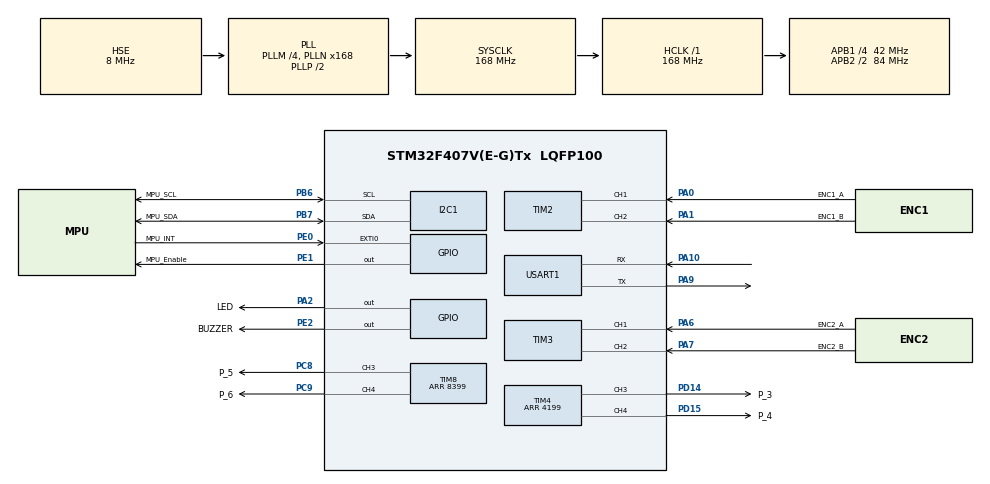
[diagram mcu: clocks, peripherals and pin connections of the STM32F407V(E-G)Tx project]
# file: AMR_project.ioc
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Dma.Request0=USART1_RX
Dma.USART1_RX.0.Direction=DMA_PERIPH_TO_MEMORY
Dma.USART1_RX.0.FIFOMode=DMA_FIFOMODE_DISABLE
Dma.USART1_RX.0.Instance=DMA2_Stream2
Dma.USART1_RX.0.MemDataAlignment=DMA_MDATAALIGN_BYTE
Dma.USART1_RX.0.MemInc=DMA_MINC_ENABLE
Dma.USART1_RX.0.Mode=DMA_NORMAL
Dma.USART1_RX.0.PeriphDataAlignment=DMA_PDATAALIGN_BYTE
Dma.USART1_RX.0.PeriphInc=DMA_PINC_DISABLE
Dma.USART1_RX.0.Priority=DMA_PRIORITY_LOW
I2C1.I2C_Mode=I2C_Fast
Mcu.Family=STM32F4
Mcu.Name=STM32F407V(E-G)Tx
Mcu.Package=LQFP100
NVIC.DMA2_Stream2_IRQn=true\:0\:0\:false\:false\:true\:false\:true\:true
NVIC.EXTI0_IRQn=true\:0\:0\:false\:false\:true\:true\:true\:true
NVIC.PriorityGroup=NVIC_PRIORITYGROUP_4
NVIC.TIM2_IRQn=true\:0\:0\:false\:false\:true\:true\:true\:true
NVIC.TIM3_IRQn=true\:0\:0\:false\:false\:true\:true\:true\:true
NVIC.TIM5_IRQn=true\:0\:0\:false\:false\:true\:true\:true\:true
NVIC.USART1_IRQn=true\:0\:0\:false\:false\:true\:true\:true\:true
PA0-WKUP.GPIO_Label=ENC1_A
PA0-WKUP.Signal=S_TIM2_CH1_ETR
PA1.GPIO_Label=ENC1_B
PA1.Signal=S_TIM2_CH2
PA10.Mode=Asynchronous
PA10.Signal=USART1_RX
PA2.GPIO_Label=LED
PA2.Signal=GPIO_Output
PA6.GPIO_Label=ENC2_A
PA6.Signal=S_TIM3_CH1
PA7.GPIO_Label=ENC2_B
PA7.Signal=S_TIM3_CH2
PA9.Mode=Asynchronous
PA9.Signal=USART1_TX
PB6.GPIO_Label=MPU_SCL
PB6.Mode=I2C
PB6.Signal=I2C1_SCL
PB7.GPIO_Label=MPU_SDA
PB7.Mode=I2C
PB7.Signal=I2C1_SDA
PC8.GPIO_Label=P_5
PC8.Signal=S_TIM8_CH3
PC9.GPIO_Label=P_6
PC9.Signal=S_TIM8_CH4
PD14.GPIO_Label=P_3
PD14.Signal=S_TIM4_CH3
PD15.GPIO_Label=P_4
PD15.Signal=S_TIM4_CH4
PE0.GPIO_Label=MPU_INT
PE0.Signal=GPXTI0
PE1.GPIO_Label=MPU_Enable
PE1.Signal=GPIO_Output
PE2.GPIO_Label=BUZZER
PE2.Signal=GPIO_Output
PH0-OSC_IN.Mode=HSE-External-Oscillator
PH0-OSC_IN.Signal=RCC_OSC_IN
PH1-OSC_OUT.Mode=HSE-External-Oscillator
PH1-OSC_OUT.Signal=RCC_OSC_OUT
ProjectManager.HeapSize=0x200
ProjectManager.StackSize=0x400
ProjectManager.TargetToolchain=MDK-ARM V5.32
RCC.48MHZClocksFreq_Value=84000000
RCC.AHBFreq_Value=168000000
RCC.APB1CLKDivider=RCC_HCLK_DIV4
RCC.APB1Freq_Value=42000000
RCC.APB1TimFreq_Value=84000000
RCC.APB2CLKDivider=RCC_HCLK_DIV2
RCC.APB2Freq_Value=84000000
RCC.APB2TimFreq_Value=168000000
RCC.CortexFreq_Value=168000000
RCC.HCLKFreq_Value=168000000
RCC.HSE_VALUE=8000000
RCC.HSI_VALUE=16000000
RCC.LSE_VALUE=32768
RCC.PLLM=4
RCC.PLLN=168
RCC.PLLSourceVirtual=RCC_PLLSOURCE_HSE
RCC.SYSCLKFreq_VALUE=168000000
RCC.SYSCLKSource=RCC_SYSCLKSOURCE_PLLCLK
RCC.VCOOutputFreq_Value=336000000
SH.S_TIM2_CH1_ETR.0=TIM2_CH1,Encoder_Interface
SH.S_TIM2_CH2.0=TIM2_CH2,Encoder_Interface
SH.S_TIM3_CH1.0=TIM3_CH1,Encoder_Interface
SH.S_TIM3_CH2.0=TIM3_CH2,Encoder_Interface
SH.S_TIM4_CH3.0=TIM4_CH3,PWM Generation3 CH3
SH.S_TIM4_CH4.0=TIM4_CH4,PWM Generation4 CH4
SH.S_TIM8_CH3.0=TIM8_CH3,PWM Generation3 CH3
SH.S_TIM8_CH4.0=TIM8_CH4,PWM Generation4 CH4
TIM2.EncoderMode=TIM_ENCODERMODE_TI12
TIM3.EncoderMode=TIM_ENCODERMODE_TI12
TIM4.Channel-PWM\ Generation3\ CH3=TIM_CHANNEL_3
TIM4.Channel-PWM\ Generation4\ CH4=TIM_CHANNEL_4
TIM4.Period=4199
TIM5.Period=99
TIM5.Prescaler=8399
TIM8.Channel-PWM\ Generation3\ CH3=TIM_CHANNEL_3
TIM8.Channel-PWM\ Generation4\ CH4=TIM_CHANNEL_4
TIM8.Period=8399
USART1.VirtualMode=VM_ASYNC
VP_TIM5_VS_ClockSourceINT.Mode=Internal
board=custom

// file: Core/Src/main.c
/* USER CODE BEGIN Header */
/**
  ******************************************************************************
  * @file           : main.c
  * @brief          : Main program body
  ******************************************************************************
  * @attention
  *
  * Copyright (c) 2026 STMicroelectronics.
  * All rights reserved.
  *
  * This software is licensed under terms that can be found in the LICENSE file
  * in the root directory of this software component.
  * If no LICENSE file comes with this software, it is provided AS-IS.
  *
  ******************************************************************************
  */
/* USER CODE END Header */
#include "main.h"

/* USER CODE BEGIN Includes */
#include "MPU6050/mpu6050.h"
#include <stdio.h>
#include "encoder.h"
#include <math.h>
#include "string.h"
/* USER CODE END Includes */

/* USER CODE BEGIN PD */
#define ARR_MAX_L     4199
#define PID_LIMIT_L ARR_MAX_L

#define ARR_MAX_R     2099
#define PID_LIMIT_R ARR_MAX_R

#define Ts 0.01f
#define RAD_S_L 28.6f
#define RAD_S_R 29.0f
#define ARR_MIN 10
#define Base_Link 0.31548f
/* USER CODE END PD */

/* USER CODE BEGIN PM */
typedef struct {
    float Kp;
    float Ki;
    float Kd;
    float alpha_d;
} PID_Config_t;

// Khai báo cố định 3 bộ số PID cho toàn bộ hành trình
const PID_Config_t PID_Straight = { .Kp = 0.5f, .Ki = 4.0f, .Kd = 0.013f, .alpha_d = 0.2f };
const PID_Config_t PID_Turn     = { .Kp = 2.5f, .Ki = 0.0f, .Kd = 0.080f, .alpha_d = 0.2f };
const PID_Config_t PID_PostTurn = { .Kp = 0.5f, .Ki = 5.0f, .Kd = 0.028f, .alpha_d = 0.25f };
/* USER CODE END PM */

I2C_HandleTypeDef hi2c1;

TIM_HandleTypeDef htim2;
TIM_HandleTypeDef htim3;
TIM_HandleTypeDef htim4;
TIM_HandleTypeDef htim5;
TIM_HandleTypeDef htim8;

UART_HandleTypeDef huart1;
DMA_HandleTypeDef hdma_usart1_rx;

/* USER CODE BEGIN PV */
uint8_t buzzer_done_flag;
char uart_buf[64];
float linear_x = 0.0f;
/*=========================== ACCEL PARAM ====================================*/
extern float Real_Accel_X;
extern float Real_Accel_Y;
extern float Real_Accel_Z;
extern float acc_calibrated_x;
extern float acc_calibrated_y;
extern float acc_calibrated_z;

/*=========================== GYRO PARAM ====================================*/
extern volatile float Final_Accel_X;
extern volatile float Final_Accel_Y;
extern volatile float Final_Gyro_Z;

extern float gy_calibrated_x;
extern float gy_calibrated_y;
extern float gy_calibrated_z;
extern float Odom_Gyro_X;

/*=========================== ANGLE PARAM ====================================*/
extern signed char Is_Calibrated;

volatile signed char mpu_data_ready_flag = 0;
extern float Robot_Yaw;

/*=========================== ENCODER PARAM ====================================*/
Encoder_t LeftEncoder;
Encoder_t RightEncoder;

volatile uint32_t prev_tick = 0;
const uint32_t sample_period_ms = 10;

int32_t pulse_left;
float left_angle;
float left_rad_raw;
float left_vel_raw;
float left_rad_filt;
float left_vel_filt;
float alpha_vel_left = 0.3f;

volatile uint16_t pulse_right;
float right_angle;
float right_rad_raw;
float right_vel_raw;
float right_rad_filt;
float right_vel_filt;
float alpha_vel_right = 0.2f;

uint32_t step_tick = 0;
uint16_t current_pwm = 0;

//------------------- PI_VEL PARAMETER ----------------------//
volatile uint8_t pid_trigger = 0; // flat PID

// Left side
float Kp_L = 50.0;
float Ki_L = 1000.0;
float Kb_L = 0.0;
float error_sat_p_L = 0;
float error_sat_L = 0;
float ui_p_L = 0;
float error_integral_L = 0;
volatile int16_t motor_L_output = 0;
volatile float setpoint_L = 0.0f;// setpoint -> rad/s

// Right side
float Kp_R = 120.0;
float Ki_R = 900.0;
float Kb_R = 0.0;
float error_sat_p_R = 0;
float error_sat_R = 0;
float ui_p_R = 0;
float error_integral_R = 0;
volatile int16_t motor_R_output = 0;
volatile float setpoint_R = 0.0f;

//------------------- UART PARAMETER ----------------------//
float uart_vel = 0.0f;
float uart_rad = 0.0f;
float ros_uart_accel_x = 0.0f;
float ros_uart_accel_y = 0.0f;
float ros_uart_gyro_z = 0.0f;

const float WHEEL_RADIUS = 0.05f;
const float DEG_TO_RAD   = 0.0174532925f;
float Robot_X = 0.0f;
float Robot_Y = 0.0f;
//------------------- PID_POS PARAMETER ----------------------//
float Kp_pos = 0.01f;
float Ki_pos = 0.0f;
float Kd_pos = 0.0f;
float Kb_pos = 0.0f;

float alpha_pos = 0.2f;
const float PID_LIMIT_POS = 15.0f;
float ui_p_pos = 0.0f;          // ui_past: Kh�u I c?a chu k? tru?c
float error_sat_p_pos = 0.0f;   // error_saturation_past: Sai s? b�o h�a chu k? tru?c
float error_pos_p = 0.0f;       // error_past: Sai s? v? tr� chu k? tru?c
float last_ud_f_pos = 0.0f;

//------------------- PID_ANGLE PARAMETER ----------------------//

float Kp_angle = 0.1f;
float Ki_angle = 0.0f;
float Kd_angle = 0.0f;
float Kb_angle = 0.0f;
float alpha_d_angle = 0.15f;

float angle_error = 0.0f;
float angle_last_error = 0.0f;
float angle_integral = 0.0f;
const float PID_LIMIT_ANGLE = 20.0f;
const float ANGLE_I_LIMIT   = 5.0f;
float error_sat_p_angle = 0.0f;
float Setpoint_Yaw = 0.0f;
float last_ud_f_angle = 0.0f;

uint32_t run_time_counter = 0;
float target_linear_speed = 0.0f;
float Target_Yaw = 0.0f;

/*============ Calibration YAW ====================*/
float calib_wheel_yaw_rad = 0.0f;
float calib_wheel_yaw_deg = 0.0f;
uint8_t calib_step_state = 0;
float recommended_gyro_scale = 0.0f;
float recommended_base_link = 0.0f;

uint8_t txFrame[14];

uint8_t rxFrame[10];

signed char flag = 0;
/* USER CODE END PV */

void SystemClock_Config(void);
static void MX_GPIO_Init(void);
static void MX_DMA_Init(void);
static void MX_USART1_UART_Init(void);
static void MX_I2C1_Init(void);
static void MX_TIM2_Init(void);
static void MX_TIM3_Init(void);
static void MX_TIM4_Init(void);
static void MX_TIM8_Init(void);
static void MX_TIM5_Init(void);
/* USER CODE BEGIN PFP */
void Read_DMP(void);
/* USER CODE END PFP */

/* USER CODE BEGIN 0 */

/*=========================== INTERUPT ===========================*/
void HAL_GPIO_EXTI_Callback(uint16_t GPIO_Pin)
{
	if (GPIO_Pin == MPU_INT_Pin)
	{
	 mpu_data_ready_flag = 1;
	}
}

void HAL_UARTEx_RxEventCallback(UART_HandleTypeDef *huart, uint16_t Size){
	 if(huart->Instance == USART1){
		 HAL_UARTEx_ReceiveToIdle_DMA(&huart1, rxFrame, 10);
		 __HAL_DMA_DISABLE_IT(&hdma_usart1_rx, DMA_IT_HT);
		flag = 1;
		if(rxFrame[0] == 0xAA && rxFrame[9] == 0x0D)
		{
			uint8_t *p;

			p = (uint8_t *)&linear_x;
			p[0] = rxFrame[1];
			p[1] = rxFrame[2];
			p[2] = rxFrame[3];
			p[3] = rxFrame[4];

			p = (uint8_t *)&Target_Yaw;
			p[0] = rxFrame[5];
			p[1] = rxFrame[6];
			p[2] = rxFrame[7];
			p[3] = rxFrame[8];
		}
	}
}

/*------------Interupt Compute ---------------------*/
void HAL_TIM_PeriodElapsedCallback(TIM_HandleTypeDef *htim)
{
	if (htim->Instance == TIM5)
	{
		pid_trigger = 1;
//		run_time_counter ++;
	}
}

// --------------- ENCODER ---------------------//
void encoder_process(void){
	Encoder_Update(&LeftEncoder);
	Encoder_Update(&RightEncoder);

	left_rad_raw  = LeftEncoder.speed_rad_s;
	left_vel_raw  = LeftEncoder.velocity_m_s;
	left_rad_filt = (alpha_vel_left * left_rad_raw) + ((1.0f - alpha_vel_left) * left_rad_filt);
	left_vel_filt = (alpha_vel_left * left_vel_raw) + ((1.0f - alpha_vel_left) * left_vel_filt);

	right_rad_raw   = RightEncoder.speed_rad_s;
	right_vel_raw   = RightEncoder.velocity_m_s;
	right_rad_filt = (alpha_vel_right  * right_rad_raw) + ((1.0f - alpha_vel_right) * right_rad_filt);
	right_vel_filt = (alpha_vel_right  * right_vel_raw) + ((1.0f - alpha_vel_right) * right_vel_filt);
}

/*============== PI_VEL_CONTROLLER ===================*/
void PI_vel(float rad_L, float rad_R) {
	float error_L = (float)setpoint_L - rad_L;
	float up_L = Kp_L * error_L;
	float ui_L = ui_p_L + Ts * (Ki_L * error_L + Kb_L * error_sat_p_L);
	float out_L_raw = up_L + ui_L;

	if (out_L_raw > PID_LIMIT_L) {
		motor_L_output = PID_LIMIT_L;
		error_sat_L = PID_LIMIT_L - out_L_raw;
	}
	else if (out_L_raw < -PID_LIMIT_L) {
		motor_L_output = -PID_LIMIT_L;
		error_sat_L = -PID_LIMIT_L - out_L_raw;
	}
	else{
		motor_L_output = (int16_t)out_L_raw;
		error_sat_L = 0.0f;
	}

	ui_p_L = ui_L;
	error_sat_p_L = error_sat_L;

	float error_R = (float)setpoint_R - rad_R;
	float up_R = Kp_R * error_R;
	float ui_R = ui_p_R + Ts * (Ki_R * error_R + Kb_R * error_sat_p_R);
	float out_R_raw = up_R + ui_R;

	if (out_R_raw > PID_LIMIT_R) {
			motor_R_output = PID_LIMIT_R;
			error_sat_R = PID_LIMIT_R - out_R_raw;
	}
	else if (out_R_raw < -PID_LIMIT_R) {
			motor_R_output = -PID_LIMIT_R;
			error_sat_R = -PID_LIMIT_R - out_R_raw;
	}
	else{
			motor_R_output = (int16_t)out_R_raw;
			error_sat_R =  0.0f;
	}
	ui_p_R = ui_R;
	error_sat_p_R = error_sat_R;
}

/*============== PID_POS_CONTROLLER ===================*/
//float PID_pos(float setpoint_pos, float feedback_pos, float dt)
//{
//	float error_pos = setpoint_pos - feedback_pos;
//
//    float up_pos = Kp_pos * error_pos;
//
//    float ui_pos = ui_p_pos + dt * (Ki_pos * error_pos + Kb_pos * error_sat_p_pos);
//
//    float ud_pos = Kd_pos * (error_pos - error_pos_p) / dt;
//
//    float ud_f = (1.0f - alpha_pos) * last_ud_f_pos + alpha_pos * ud_pos;
//
//    float out_pos_raw = up_pos + ui_pos + ud_f;
//    float pos_output = 0.0f;
//    float error_sat_pos = 0.0f;
//
//    if (out_pos_raw > PID_LIMIT_POS) {
//        pos_output = PID_LIMIT_POS;
//        error_sat_pos = PID_LIMIT_POS - out_pos_raw;
//    }
//    else if (out_pos_raw < -PID_LIMIT_POS) {
//        pos_output = -PID_LIMIT_POS;
//        error_sat_pos = -PID_LIMIT_POS - out_pos_raw;
//    }
//    else {
//        pos_output = out_pos_raw;
//        error_sat_pos = 0.0f;
//    }
//
//    ui_p_pos = ui_pos;
//    error_sat_p_pos = error_sat_pos;
//    error_pos_p = error_pos;
//    last_ud_f_pos = ud_f;
//
//    return pos_output;
//}

/*============== PID_ANGLE_CONTROLLER ===================*/
float PID_angle(float setpoint, float feedback, float dt)
{
	angle_error = setpoint - feedback;

	while (angle_error > 180.0f)
			angle_error -= 360.0f;
	while (angle_error < -180.0f)
			angle_error += 360.0f;

	float up_angle = Kp_angle * angle_error;

	float ui_angle = angle_integral + dt * (Ki_angle * angle_error + Kb_angle * error_sat_p_angle);

	float ud_angle_raw = Kd_angle * (angle_error - angle_last_error) / dt;

	float ud_angle_filtered = (alpha_d_angle * ud_angle_raw) + ((1.0f - alpha_d_angle) * last_ud_f_angle);
	last_ud_f_angle = ud_angle_filtered;

	float out_angle_raw = up_angle + ui_angle + ud_angle_filtered;
	float angle_output = 0.0f;
	float error_sat_angle = 0.0f;

	if (out_angle_raw > PID_LIMIT_ANGLE) {
			angle_output = PID_LIMIT_ANGLE;
			error_sat_angle = PID_LIMIT_ANGLE - out_angle_raw;
	}
	else if (out_angle_raw < -PID_LIMIT_ANGLE) {
			angle_output = -PID_LIMIT_ANGLE;
			error_sat_angle = -PID_LIMIT_ANGLE - out_angle_raw;
	}
	else {
			angle_output = out_angle_raw;
			error_sat_angle = 0.0f;
	}

	angle_integral = ui_angle;
	error_sat_p_angle = error_sat_angle;
	angle_last_error = angle_error;

	return angle_output;
}

/*============== RAW ODOM UART ===================*/
void uart_transmit_data(float w_left, float w_right, float yaw_deg, float dt)
{
	// Wheel data
	uart_vel = (left_vel_filt + right_vel_filt)/2; // Linear_vel
	uart_rad = (right_rad_filt - left_rad_filt)/Base_Link; // Angular_vel

	// IMU data
	ros_uart_accel_x = Final_Accel_X * 9.80665f;
	ros_uart_accel_y = Final_Accel_Y * 9.80665f;
	ros_uart_gyro_z  = Final_Gyro_Z  * 0.0174532925f;

}

/*============== MOTOR CONTROL  ===================*/
void Set_Motor(int16_t left_output, int16_t right_output)
{
	if (left_output >= 0)
	{
		if (left_output > ARR_MAX_L)
			left_output = ARR_MAX_L;

		TIM8->CCR3 = ARR_MIN;
		TIM8->CCR4 = left_output;
	}
	else
	{
		left_output = -left_output;
		if (left_output > ARR_MAX_L)
			left_output = ARR_MAX_L;

		TIM8->CCR3 = left_output;
		TIM8->CCR4 = ARR_MIN;
	}

	if (right_output >= 0)
	{
		if (right_output > ARR_MAX_R)
			right_output = ARR_MAX_R;

		TIM4->CCR3 = right_output;
		TIM4->CCR4 = ARR_MIN;
	}
	else
	{
		right_output = -right_output;
		if (right_output > ARR_MAX_R)
			right_output = ARR_MAX_R;

		TIM4->CCR3 = ARR_MIN;
		TIM4->CCR4 = right_output;
	}
}

/*====================== AUTO CALIB ============================*/
void Auto_Calib_Turn_Place(void)
{
	if (calib_step_state == 0)
	{
			setpoint_L = -2.0f;
			setpoint_R = 2.0f;

			calib_wheel_yaw_rad = 0.0f;
			calib_step_state = 1;
	}

	else if (calib_step_state == 1)
	{
		float current_w_wheel = (right_vel_filt - left_vel_filt) / Base_Link;

		calib_wheel_yaw_rad += current_w_wheel * Ts;
		calib_wheel_yaw_deg = calib_wheel_yaw_rad * 57.29577951f;

		if (fabs(Robot_Yaw) >= 1800.0f)
		{
			setpoint_L = 0.0f;
			setpoint_R = 0.0f;
			motor_L_output = 0;
			motor_R_output = 0;
			Set_Motor(0, 0);

			calib_step_state = 2;
		}
	}

	else if (calib_step_state == 2)
	{
		GPIOE->ODR |= (1<<2);
		HAL_Delay(200);
		GPIOE->ODR &=~ (1<<2);

		recommended_base_link = Base_Link * (calib_wheel_yaw_deg / 1800.0f);

		calib_step_state = 3;
	}
}

//void AMR_UART_Transmit_To_Pi(void)
//{
//    float linear_velocity = (left_vel_filt + right_vel_filt) / 2.0f;

//    float yaw_rad = Robot_Yaw * DEG_TO_RAD;
//
//    Robot_X += linear_velocity * cosf(yaw_rad) * Ts;
//    Robot_Y += linear_velocity * sinf(yaw_rad) * Ts;

//    uart_rad = (right_rad_filt - left_rad_filt) / Base_Link;

//    ros_uart_accel_x = Final_Accel_X * 9.80665f;
//    ros_uart_accel_y = Final_Accel_Y * 9.80665f;
//    ros_uart_gyro_z  = Final_Gyro_Z  * DEG_TO_RAD;

//    int len = sprintf(uart_buf, "%.3f,%.3f,%.2f\r\n",
//                      Robot_X, Robot_Y, Robot_Yaw);

//    HAL_UART_Transmit(&huart6, (uint8_t*)uart_buf, len, 10);
//}

/*===================== CACULATE SETPOINT ========================*/
void Inverse_Kinematics(void)
{
    float v_left  = linear_x - Robot_Yaw * Base_Link * 0.5f;
    float v_right = linear_x + Robot_Yaw * Base_Link * 0.5f;

    setpoint_L = v_left  / WHEEL_RADIUS;
    setpoint_R = v_right / WHEEL_RADIUS;
}

int pulse_left = 0;

/*===================== */
/* USER CODE END 0 */

int main(void)
{

  /* MCU Configuration--------------------------------------------------------*/

  /* Reset of all peripherals, Initializes the Flash interface and the Systick. */
  HAL_Init();

  /* Configure the system clock */
  SystemClock_Config();

  /* Initialize all configured peripherals */
  MX_GPIO_Init();
  MX_DMA_Init();
  MX_USART1_UART_Init();
  MX_I2C1_Init();
  MX_TIM2_Init();
  MX_TIM3_Init();
  MX_TIM4_Init();
  MX_TIM8_Init();
  MX_TIM5_Init();
  /* USER CODE BEGIN 2 */
	GPIOA->ODR &=~ (1<<2);   // LED ON

	/*================ MPU6050 ====================*/
	GPIOE->ODR &=~ (1<<1);

	MPU6050_initialize();
	DMP_Init();

	/*================ UART1 CONFIG ===============*/
	HAL_UARTEx_ReceiveToIdle_DMA(&huart1, rxFrame, 10);
	__HAL_DMA_DISABLE_IT(&hdma_usart1_rx, DMA_IT_HT);

	//------------------ PWM setup ----------------------//

	// RIGHT SIDE
	HAL_TIM_PWM_Start(&htim4, TIM_CHANNEL_3);
	HAL_TIM_PWM_Start(&htim4, TIM_CHANNEL_4);

	// LEFT SIDE
	HAL_TIM_PWM_Start(&htim8, TIM_CHANNEL_3);
	HAL_TIM_PWM_Start(&htim8, TIM_CHANNEL_4);

	//------------------ Encoder setup ----------------------//
	Encoder_Init(&LeftEncoder, TIM2);
  Encoder_Init(&RightEncoder, TIM3);

	HAL_TIM_Encoder_Start_IT(&htim2, TIM_CHANNEL_ALL);
  HAL_TIM_Encoder_Start_IT(&htim3, TIM_CHANNEL_ALL);

	//------------------ ACTIVE TIM5 ----------------------//
  HAL_TIM_Base_Start_IT(&htim5);

	Kb_L = Ki_L/Kp_L;
	Kb_R = Ki_R/Kp_R;
	Kb_pos = Ki_pos/Kp_pos;
	Kb_angle = Ki_angle/Kp_angle;

  /* USER CODE END 2 */

  /* Infinite loop */
  while (1)
  {

    /* USER CODE BEGIN 3 */
		if (mpu_data_ready_flag == 1)
		{
				mpu_data_ready_flag = 0;
				Read_DMP();
		}
		if (Is_Calibrated == 1 && buzzer_done_flag == 0)
		{
				buzzer_done_flag = 1;

				for(int i = 0; i < 3; i++)
				{
						GPIOE->ODR |= (1<<2);
						HAL_Delay(50);
						GPIOE->ODR &=~ (1<<2);
						HAL_Delay(50);
				}
		}
		if (Is_Calibrated == 0)
		{
				setpoint_L = 0.0f;
				setpoint_R = 0.0f;
				motor_L_output = 0;
				motor_R_output = 0;
				Set_Motor(0, 0);

				if (pid_trigger == 1) {
						pid_trigger = 0;
						encoder_process();
				}
				continue;
		}

		if (pid_trigger == 1)
		{
				pid_trigger = 0;
				encoder_process();

				static float dynamic_linear_x = 0.0f; // Vận tốc dài m/s mượt
				float accel_rate = 0.07f;           // Gia tốc m/s mỗi chu kỳ (0.07 rad/s * 0.05m = 0.0035 m/s)
				float max_angular_vel = 5.0f;         // Giới hạn tốc độ góc robot (rad/s) (~85 độ/s)

				PID_Config_t active_pid;

				// 1. Kiểm tra trạng thái di chuyển dựa trên lệnh linear_x (m/s)
				if (fabs(linear_x) < 0.01f) // Lệnh đứng yên tại chỗ / Chỉ quay
				{
						active_pid = PID_Turn;
						dynamic_linear_x = 0.0f;
						angle_integral = 0.0f;
				}
				else // Lệnh đi thẳng hoặc vừa đi vừa rẽ
				{
						static float past_linear_x = 0.0f;
						static uint32_t post_turn_tick = 0;

						if (fabs(past_linear_x) < 0.01f && fabs(linear_x) >= 0.01f) {
								post_turn_tick = 100; // 100 chu kỳ * 10ms = 1 giây chuyển tiếp ổn định sau khi rẽ
						}

						if (post_turn_tick > 0) {
								active_pid = PID_PostTurn;
								angle_integral = 0.0f;
								post_turn_tick--;
						} else {
								active_pid = PID_Straight;
						}

						past_linear_x = linear_x;

						// Cập nhật gia tốc mượt cho linear_x (đơn vị m/s)
						if (dynamic_linear_x < linear_x) {
								dynamic_linear_x += accel_rate;
								if (dynamic_linear_x > linear_x)
									dynamic_linear_x = linear_x;
						}
						else if (dynamic_linear_x > linear_x) {
								dynamic_linear_x -= accel_rate;
								if (dynamic_linear_x < linear_x)
									dynamic_linear_x = linear_x;
						}
				}

				// Nạp tham số PID tương ứng với trạng thái di chuyển
				Kp_angle      = active_pid.Kp;
				Ki_angle      = active_pid.Ki;
				Kd_angle      = active_pid.Kd;
				alpha_d_angle = active_pid.alpha_d;

				if (Kp_angle > 0.0f)
						Kb_angle = Ki_angle / Kp_angle;
				else
						Kb_angle = 0.0f;

				// 2. Tính toán tốc độ góc cần thiết (rad/s) để bám theo Target_Yaw
				// Hàm PID_angle trả về giá trị điều khiển hướng. Hãy cấu hình Kp_angle sao cho ngõ ra có đơn vị rad/s.
				float target_angular_velocity = PID_angle(Target_Yaw, Robot_Yaw, Ts);

				// Giới hạn tốc độ quay của robot để tránh lật hoặc xoay quá gắt
				if (target_angular_velocity > max_angular_vel)
					target_angular_velocity = max_angular_vel;
				if (target_angular_velocity < -max_angular_vel)
					target_angular_velocity = -max_angular_vel;

				// 3. ĐỘNG HỌC NGƯỢC (Đã chuẩn hóa đơn vị vật lý)
				// Vận tốc dài từng bánh (m/s) = v +- (omega * B / 2)
				float v_left_target  = dynamic_linear_x - (target_angular_velocity * Base_Link * 0.5f);
				float v_right_target = dynamic_linear_x + (target_angular_velocity * Base_Link * 0.5f);

				// Quy đổi từ m/s sang rad/s của bánh xe để làm Setpoint cho vòng PI vận tốc
				setpoint_L = v_left_target / WHEEL_RADIUS;
				setpoint_R = v_right_target / WHEEL_RADIUS;

				// 4. Cập nhật bộ điều khiển động cơ
				PI_vel(left_rad_filt, right_rad_filt);
				Set_Motor(motor_L_output, motor_R_output);

		}

  }
  /* USER CODE END 3 */
}

void SystemClock_Config(void)
{
  RCC_OscInitTypeDef RCC_OscInitStruct = {0};
  RCC_ClkInitTypeDef RCC_ClkInitStruct = {0};

  /** Configure the main internal regulator output voltage
  */
  __HAL_RCC_PWR_CLK_ENABLE();
  __HAL_PWR_VOLTAGESCALING_CONFIG(PWR_REGULATOR_VOLTAGE_SCALE1);

  /** Initializes the RCC Oscillators according to the specified parameters
  * in the RCC_OscInitTypeDef structure.
  */
  RCC_OscInitStruct.OscillatorType = RCC_OSCILLATORTYPE_HSE;
  RCC_OscInitStruct.HSEState = RCC_HSE_ON;
  RCC_OscInitStruct.PLL.PLLState = RCC_PLL_ON;
  RCC_OscInitStruct.PLL.PLLSource = RCC_PLLSOURCE_HSE;
  RCC_OscInitStruct.PLL.PLLM = 4;
  RCC_OscInitStruct.PLL.PLLN = 168;
  RCC_OscInitStruct.PLL.PLLP = RCC_PLLP_DIV2;
  RCC_OscInitStruct.PLL.PLLQ = 4;
  if (HAL_RCC_OscConfig(&RCC_OscInitStruct) != HAL_OK)
  {
    Error_Handler();
  }

  /** Initializes the CPU, AHB and APB buses clocks
  */
  RCC_ClkInitStruct.ClockType = RCC_CLOCKTYPE_HCLK|RCC_CLOCKTYPE_SYSCLK
                              |RCC_CLOCKTYPE_PCLK1|RCC_CLOCKTYPE_PCLK2;
  RCC_ClkInitStruct.SYSCLKSource = RCC_SYSCLKSOURCE_PLLCLK;
  RCC_ClkInitStruct.AHBCLKDivider = RCC_SYSCLK_DIV1;
  RCC_ClkInitStruct.APB1CLKDivider = RCC_HCLK_DIV4;
  RCC_ClkInitStruct.APB2CLKDivider = RCC_HCLK_DIV2;

  if (HAL_RCC_ClockConfig(&RCC_ClkInitStruct, FLASH_LATENCY_5) != HAL_OK)
  {
    Error_Handler();
  }
}

static void MX_I2C1_Init(void)
{

  hi2c1.Instance = I2C1;
  hi2c1.Init.ClockSpeed = 400000;
  hi2c1.Init.DutyCycle = I2C_DUTYCYCLE_2;
  hi2c1.Init.OwnAddress1 = 0;
  hi2c1.Init.AddressingMode = I2C_ADDRESSINGMODE_7BIT;
  hi2c1.Init.DualAddressMode = I2C_DUALADDRESS_DISABLE;
  hi2c1.Init.OwnAddress2 = 0;
  hi2c1.Init.GeneralCallMode = I2C_GENERALCALL_DISABLE;
  hi2c1.Init.NoStretchMode = I2C_NOSTRETCH_DISABLE;
  if (HAL_I2C_Init(&hi2c1) != HAL_OK)
  {
    Error_Handler();
  }

}

static void MX_TIM2_Init(void)
{

  TIM_Encoder_InitTypeDef sConfig = {0};
  TIM_MasterConfigTypeDef sMasterConfig = {0};

  htim2.Instance = TIM2;
  htim2.Init.Prescaler = 0;
  htim2.Init.CounterMode = TIM_COUNTERMODE_UP;
  htim2.Init.Period = 4294967295;
  htim2.Init.ClockDivision = TIM_CLOCKDIVISION_DIV1;
  htim2.Init.AutoReloadPreload = TIM_AUTORELOAD_PRELOAD_DISABLE;
  sConfig.EncoderMode = TIM_ENCODERMODE_TI12;
  sConfig.IC1Polarity = TIM_ICPOLARITY_RISING;
  sConfig.IC1Selection = TIM_ICSELECTION_DIRECTTI;
  sConfig.IC1Prescaler = TIM_ICPSC_DIV1;
  sConfig.IC1Filter = 0;
  sConfig.IC2Polarity = TIM_ICPOLARITY_RISING;
  sConfig.IC2Selection = TIM_ICSELECTION_DIRECTTI;
  sConfig.IC2Prescaler = TIM_ICPSC_DIV1;
  sConfig.IC2Filter = 0;
  if (HAL_TIM_Encoder_Init(&htim2, &sConfig) != HAL_OK)
  {
    Error_Handler();
  }
  sMasterConfig.MasterOutputTrigger = TIM_TRGO_RESET;
  sMasterConfig.MasterSlaveMode = TIM_MASTERSLAVEMODE_DISABLE;
  if (HAL_TIMEx_MasterConfigSynchronization(&htim2, &sMasterConfig) != HAL_OK)
  {
    Error_Handler();
  }

}

static void MX_TIM3_Init(void)
{

  TIM_Encoder_InitTypeDef sConfig = {0};
  TIM_MasterConfigTypeDef sMasterConfig = {0};

  htim3.Instance = TIM3;
  htim3.Init.Prescaler = 0;
  htim3.Init.CounterMode = TIM_COUNTERMODE_UP;
  htim3.Init.Period = 65535;
  htim3.Init.ClockDivision = TIM_CLOCKDIVISION_DIV1;
  htim3.Init.AutoReloadPreload = TIM_AUTORELOAD_PRELOAD_DISABLE;
  sConfig.EncoderMode = TIM_ENCODERMODE_TI12;
  sConfig.IC1Polarity = TIM_ICPOLARITY_RISING;
  sConfig.IC1Selection = TIM_ICSELECTION_DIRECTTI;
  sConfig.IC1Prescaler = TIM_ICPSC_DIV1;
  sConfig.IC1Filter = 0;
  sConfig.IC2Polarity = TIM_ICPOLARITY_RISING;
  sConfig.IC2Selection = TIM_ICSELECTION_DIRECTTI;
  sConfig.IC2Prescaler = TIM_ICPSC_DIV1;
  sConfig.IC2Filter = 0;
  if (HAL_TIM_Encoder_Init(&htim3, &sConfig) != HAL_OK)
  {
    Error_Handler();
  }
  sMasterConfig.MasterOutputTrigger = TIM_TRGO_RESET;
  sMasterConfig.MasterSlaveMode = TIM_MASTERSLAVEMODE_DISABLE;
  if (HAL_TIMEx_MasterConfigSynchronization(&htim3, &sMasterConfig) != HAL_OK)
  {
    Error_Handler();
  }

}

static void MX_TIM4_Init(void)
{

  TIM_MasterConfigTypeDef sMasterConfig = {0};
  TIM_OC_InitTypeDef sConfigOC = {0};

  htim4.Instance = TIM4;
  htim4.Init.Prescaler = 0;
  htim4.Init.CounterMode = TIM_COUNTERMODE_UP;
  htim4.Init.Period = 4199;
  htim4.Init.ClockDivision = TIM_CLOCKDIVISION_DIV1;
  htim4.Init.AutoReloadPreload = TIM_AUTORELOAD_PRELOAD_DISABLE;
  if (HAL_TIM_PWM_Init(&htim4) != HAL_OK)
  {
    Error_Handler();
  }
  sMasterConfig.MasterOutputTrigger = TIM_TRGO_RESET;
  sMasterConfig.MasterSlaveMode = TIM_MASTERSLAVEMODE_DISABLE;
  if (HAL_TIMEx_MasterConfigSynchronization(&htim4, &sMasterConfig) != HAL_OK)
  {
    Error_Handler();
  }
  sConfigOC.OCMode = TIM_OCMODE_PWM1;
  sConfigOC.Pulse = 0;
  sConfigOC.OCPolarity = TIM_OCPOLARITY_HIGH;
  sConfigOC.OCFastMode = TIM_OCFAST_DISABLE;
  if (HAL_TIM_PWM_ConfigChannel(&htim4, &sConfigOC, TIM_CHANNEL_3) != HAL_OK)
  {
    Error_Handler();
  }
  if (HAL_TIM_PWM_ConfigChannel(&htim4, &sConfigOC, TIM_CHANNEL_4) != HAL_OK)
  {
    Error_Handler();
  }
  HAL_TIM_MspPostInit(&htim4);

}

static void MX_TIM5_Init(void)
{

  TIM_ClockConfigTypeDef sClockSourceConfig = {0};
  TIM_MasterConfigTypeDef sMasterConfig = {0};

  htim5.Instance = TIM5;
  htim5.Init.Prescaler = 8399;
  htim5.Init.CounterMode = TIM_COUNTERMODE_UP;
  htim5.Init.Period = 99;
  htim5.Init.ClockDivision = TIM_CLOCKDIVISION_DIV1;
  htim5.Init.AutoReloadPreload = TIM_AUTORELOAD_PRELOAD_DISABLE;
  if (HAL_TIM_Base_Init(&htim5) != HAL_OK)
  {
    Error_Handler();
  }
  sClockSourceConfig.ClockSource = TIM_CLOCKSOURCE_INTERNAL;
  if (HAL_TIM_ConfigClockSource(&htim5, &sClockSourceConfig) != HAL_OK)
  {
    Error_Handler();
  }
  sMasterConfig.MasterOutputTrigger = TIM_TRGO_RESET;
  sMasterConfig.MasterSlaveMode = TIM_MASTERSLAVEMODE_DISABLE;
  if (HAL_TIMEx_MasterConfigSynchronization(&htim5, &sMasterConfig) != HAL_OK)
  {
    Error_Handler();
  }

}

static void MX_TIM8_Init(void)
{

  TIM_MasterConfigTypeDef sMasterConfig = {0};
  TIM_OC_InitTypeDef sConfigOC = {0};
  TIM_BreakDeadTimeConfigTypeDef sBreakDeadTimeConfig = {0};

  htim8.Instance = TIM8;
  htim8.Init.Prescaler = 0;
  htim8.Init.CounterMode = TIM_COUNTERMODE_UP;
  htim8.Init.Period = 8399;
  htim8.Init.ClockDivision = TIM_CLOCKDIVISION_DIV1;
  htim8.Init.RepetitionCounter = 0;
  htim8.Init.AutoReloadPreload = TIM_AUTORELOAD_PRELOAD_DISABLE;
  if (HAL_TIM_PWM_Init(&htim8) != HAL_OK)
  {
    Error_Handler();
  }
  sMasterConfig.MasterOutputTrigger = TIM_TRGO_RESET;
  sMasterConfig.MasterSlaveMode = TIM_MASTERSLAVEMODE_DISABLE;
  if (HAL_TIMEx_MasterConfigSynchronization(&htim8, &sMasterConfig) != HAL_OK)
  {
    Error_Handler();
  }
  sConfigOC.OCMode = TIM_OCMODE_PWM1;
  sConfigOC.Pulse = 0;
  sConfigOC.OCPolarity = TIM_OCPOLARITY_HIGH;
  sConfigOC.OCNPolarity = TIM_OCNPOLARITY_HIGH;
  sConfigOC.OCFastMode = TIM_OCFAST_DISABLE;
  sConfigOC.OCIdleState = TIM_OCIDLESTATE_RESET;
  sConfigOC.OCNIdleState = TIM_OCNIDLESTATE_RESET;
  if (HAL_TIM_PWM_ConfigChannel(&htim8, &sConfigOC, TIM_CHANNEL_3) != HAL_OK)
  {
    Error_Handler();
  }
  if (HAL_TIM_PWM_ConfigChannel(&htim8, &sConfigOC, TIM_CHANNEL_4) != HAL_OK)
  {
    Error_Handler();
  }
  sBreakDeadTimeConfig.OffStateRunMode = TIM_OSSR_DISABLE;
  sBreakDeadTimeConfig.OffStateIDLEMode = TIM_OSSI_DISABLE;
  sBreakDeadTimeConfig.LockLevel = TIM_LOCKLEVEL_OFF;
  sBreakDeadTimeConfig.DeadTime = 0;
  sBreakDeadTimeConfig.BreakState = TIM_BREAK_DISABLE;
  sBreakDeadTimeConfig.BreakPolarity = TIM_BREAKPOLARITY_HIGH;
  sBreakDeadTimeConfig.AutomaticOutput = TIM_AUTOMATICOUTPUT_DISABLE;
  if (HAL_TIMEx_ConfigBreakDeadTime(&htim8, &sBreakDeadTimeConfig) != HAL_OK)
  {
    Error_Handler();
  }
  HAL_TIM_MspPostInit(&htim8);

}

static void MX_USART1_UART_Init(void)
{

  huart1.Instance = USART1;
  huart1.Init.BaudRate = 115200;
  huart1.Init.WordLength = UART_WORDLENGTH_8B;
  huart1.Init.StopBits = UART_STOPBITS_1;
  huart1.Init.Parity = UART_PARITY_NONE;
  huart1.Init.Mode = UART_MODE_TX_RX;
  huart1.Init.HwFlowCtl = UART_HWCONTROL_NONE;
  huart1.Init.OverSampling = UART_OVERSAMPLING_16;
  if (HAL_UART_Init(&huart1) != HAL_OK)
  {
    Error_Handler();
  }

}

static void MX_DMA_Init(void)
{

  /* DMA controller clock enable */
  __HAL_RCC_DMA2_CLK_ENABLE();

  /* DMA interrupt init */
  /* DMA2_Stream2_IRQn interrupt configuration */
  HAL_NVIC_SetPriority(DMA2_Stream2_IRQn, 0, 0);
  HAL_NVIC_EnableIRQ(DMA2_Stream2_IRQn);

}

static void MX_GPIO_Init(void)
{
  GPIO_InitTypeDef GPIO_InitStruct = {0};

  /* GPIO Ports Clock Enable */
  __HAL_RCC_GPIOE_CLK_ENABLE();
  __HAL_RCC_GPIOH_CLK_ENABLE();
  __HAL_RCC_GPIOA_CLK_ENABLE();
  __HAL_RCC_GPIOD_CLK_ENABLE();
  __HAL_RCC_GPIOC_CLK_ENABLE();
  __HAL_RCC_GPIOB_CLK_ENABLE();

  /*Configure GPIO pin Output Level */
  HAL_GPIO_WritePin(GPIOE, BUZZER_Pin|MPU_Enable_Pin, GPIO_PIN_RESET);

  /*Configure GPIO pin Output Level */
  HAL_GPIO_WritePin(LED_GPIO_Port, LED_Pin, GPIO_PIN_RESET);

  /*Configure GPIO pins : BUZZER_Pin MPU_Enable_Pin */
  GPIO_InitStruct.Pin = BUZZER_Pin|MPU_Enable_Pin;
  GPIO_InitStruct.Mode = GPIO_MODE_OUTPUT_PP;
  GPIO_InitStruct.Pull = GPIO_NOPULL;
  GPIO_InitStruct.Speed = GPIO_SPEED_FREQ_LOW;
  HAL_GPIO_Init(GPIOE, &GPIO_InitStruct);

  /*Configure GPIO pin : LED_Pin */
  GPIO_InitStruct.Pin = LED_Pin;
  GPIO_InitStruct.Mode = GPIO_MODE_OUTPUT_PP;
  GPIO_InitStruct.Pull = GPIO_NOPULL;
  GPIO_InitStruct.Speed = GPIO_SPEED_FREQ_LOW;
  HAL_GPIO_Init(LED_GPIO_Port, &GPIO_InitStruct);

  /*Configure GPIO pin : MPU_INT_Pin */
  GPIO_InitStruct.Pin = MPU_INT_Pin;
  GPIO_InitStruct.Mode = GPIO_MODE_IT_RISING;
  GPIO_InitStruct.Pull = GPIO_NOPULL;
  HAL_GPIO_Init(MPU_INT_GPIO_Port, &GPIO_InitStruct);

  /* EXTI interrupt init*/
  HAL_NVIC_SetPriority(EXTI0_IRQn, 0, 0);
  HAL_NVIC_EnableIRQ(EXTI0_IRQn);

}

void Error_Handler(void)
{
  __disable_irq();
  while (1)
  {
  }
}
